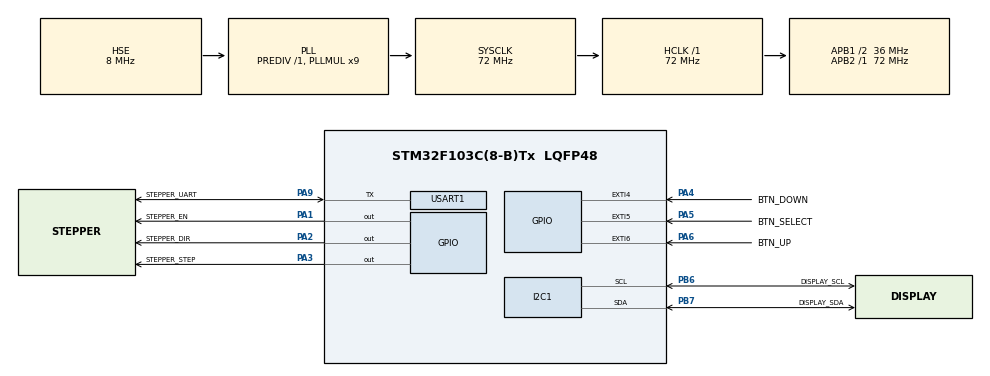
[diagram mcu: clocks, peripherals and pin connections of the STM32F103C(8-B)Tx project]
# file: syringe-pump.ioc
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Mcu.Family=STM32F1
Mcu.Name=STM32F103C(8-B)Tx
Mcu.Package=LQFP48
NVIC.EXTI4_IRQn=true\:0\:0\:false\:false\:true\:true\:true\:true
NVIC.EXTI9_5_IRQn=true\:0\:0\:false\:false\:true\:true\:true\:true
NVIC.PriorityGroup=NVIC_PRIORITYGROUP_4
NVIC.TIM3_IRQn=true\:0\:0\:true\:false\:true\:true\:true\:true
NVIC.USART1_IRQn=true\:0\:0\:false\:false\:true\:true\:true\:true
PA1.GPIO_Label=STEPPER_EN
PA1.Signal=GPIO_Output
PA13.Mode=Serial_Wire
PA13.Signal=SYS_JTMS-SWDIO
PA14.Mode=Serial_Wire
PA14.Signal=SYS_JTCK-SWCLK
PA2.GPIO_Label=STEPPER_DIR
PA2.Signal=GPIO_Output
PA3.GPIO_Label=STEPPER_STEP
PA3.Signal=GPIO_Output
PA4.GPIO_Label=BTN_DOWN
PA4.Signal=GPXTI4
PA5.GPIO_Label=BTN_SELECT
PA5.Signal=GPXTI5
PA6.GPIO_Label=BTN_UP
PA6.Signal=GPXTI6
PA9.GPIO_Label=STEPPER_UART
PA9.Mode=Half_duplex(single_wire_mode)
PA9.Signal=USART1_TX
PB6.GPIO_Label=DISPLAY_SCL
PB6.Mode=I2C
PB6.Signal=I2C1_SCL
PB7.GPIO_Label=DISPLAY_SDA
PB7.Mode=I2C
PB7.Signal=I2C1_SDA
PD0-OSC_IN.Mode=HSE-External-Oscillator
PD0-OSC_IN.Signal=RCC_OSC_IN
PD1-OSC_OUT.Mode=HSE-External-Oscillator
PD1-OSC_OUT.Signal=RCC_OSC_OUT
ProjectManager.HeapSize=0x200
ProjectManager.StackSize=0x400
ProjectManager.TargetToolchain=STM32CubeIDE
RCC.AHBFreq_Value=72000000
RCC.APB1CLKDivider=RCC_HCLK_DIV2
RCC.APB1Freq_Value=36000000
RCC.APB1TimFreq_Value=72000000
RCC.APB2Freq_Value=72000000
RCC.APB2TimFreq_Value=72000000
RCC.HCLKFreq_Value=72000000
RCC.PLLMUL=RCC_PLL_MUL9
RCC.PLLSourceVirtual=RCC_PLLSOURCE_HSE
RCC.SYSCLKFreq_VALUE=72000000
RCC.SYSCLKSource=RCC_SYSCLKSOURCE_PLLCLK
RCC.USBFreq_Value=72000000
TIM3.AutoReloadPreload=TIM_AUTORELOAD_PRELOAD_ENABLE
TIM3.Prescaler=7200-1
USART1.BaudRate=115200
USART1.VirtualMode=VM_ASYNC
VP_TIM3_VS_ClockSourceINT.Mode=Internal
board=custom

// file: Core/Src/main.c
/* USER CODE BEGIN Header */
/**
 ******************************************************************************
 * @file           : main.c
 * @brief          : Main program body
 ******************************************************************************
 * @attention
 *
 * Copyright (c) 2025 STMicroelectronics.
 * All rights reserved.
 *
 * This software is licensed under terms that can be found in the LICENSE file
 * in the root directory of this software component.
 * If no LICENSE file comes with this software, it is provided AS-IS.
 *
 ******************************************************************************
 */
/* USER CODE END Header */
#include "main.h"

/* USER CODE BEGIN Includes */
#include <TMC2208.h>
#include <stdbool.h>
#include <Util.h>
#include <I2C_LCD_cfg.h>
#include <I2C_LCD.h>

#include <stdio.h>
#include <string.h>
#include <stdint.h>
#include <math.h>

/* USER CODE END Includes */

/* USER CODE BEGIN PD */

// Physical characteristics of the motor and the screw
#define PASOS_POR_VUELTA      200
#define AVANCE_TORNILLO_MM    8.0f

#define MyI2C_LCD I2C_LCD_1

#define NUM_PANTALLAS 		4
#define NUM_OPCIONES_MAX 	4
#define DEBOUNCE_DELAY 		150 // Milisegundos
#define MAX_LINEAS 3 // Número máximo de líneas de opciones visibles

#define COL cursor_pos[0]
#define FIL cursor_pos[1]

/* USER CODE END PD */

I2C_HandleTypeDef hi2c1;

TIM_HandleTypeDef htim3;

UART_HandleTypeDef huart1;

/* USER CODE BEGIN PV */

// Physical characteristics of the syringe
float volumen_jeringa = 5.0f;       // ml
float caudal = 1.5f;        // ml/min
float diametro = 10.0f;     // mm
float largo = 0.0f;         // mm (se ignora si hay diámetro)

uint32_t f_clk = 72000000;  // TIM2 clock (ejemplo: 72 MHz)

// Stepper Configuration
int motor_current = 600;	// Corriente del motor paso a paso (mA)
float Rsense = 0.11;	// Resistencia de sensado del TMC2208 (omhs)

// Stepper control
volatile uint32_t steps_remaining = 0;
volatile bool motor_running = false;
uint32_t steps;

// User variables
float vol_to_dispense = 0;	// Volumen de liquido que se quiere dispensar (mL)
float flow_to_dispense = 0;	// Flujo al que se quiere dispensar el liquido (mL/h)

// Variables display
int col = 0;
int fil = 0;
int cursor_pos[2];

// Estados de la máquina de estados
typedef enum {
	MENU_PRINCIPAL,
	AJUSTANDO_VALOR
} EstadoMenu_t;

typedef enum {
	DISPENSADO,
	CONF_JERINGA,
	CONF_STEPPER,
	INICIAR
} Pantalla_t;

typedef enum {
	VOLUMEN_DISP,
	CAUDAL,
	VOLVER_DISP
} OpcDispensado_t;

typedef enum {
	VOLUMEN_TOTAL,
	LARGO,
	DIAM_INTERNO,
	VOLVER_JER
} OpcConfJeringa_t;

typedef enum {
	MICROPASOS,
	CORRIENTE,
	RSENSE,
	VOLVER_STEP
} OpcConfStepper_t;

// Estructura para cada opción del menú
typedef struct {
	char nombre[16];
	int valor;
} OpcionMenu_t;

// Estructura para cada pantalla
typedef struct {
	char titulo[20];
	OpcionMenu_t opciones[NUM_OPCIONES_MAX];
	int num_opciones;
} PantallaMenu_t;

// Variables globales
EstadoMenu_t estado_actual = MENU_PRINCIPAL;
PantallaMenu_t menu[NUM_PANTALLAS] = {
		{"Dispensado", 			{ {"Vol=", 			0},	{"Caudal=", 		0},							{"Volver",  -1} }, 3 },
		{"Conf Jeringa", 		{ {"Vol total=", 	0}, {"Largo=", 			0}, {"Diametro int=", 	0}, {"Volver",  -1} }, 4 },
		{"Conf stepepr", 		{ {"Micropasos=", 	0}, {"Corriente max=", 	0}, {"Rsense=0.", 		0}, {"Volver",  -1} }, 4 },
		{"Bomba de jeringa", 	{ {"Dispensado",   -1}, {"Conf jeringa",   -1}, {"Conf stepper",   -1}, {"Iniciar", -1} }, 4 },
};

int pantalla_actual = PRINCIPAL;
int opcion_actual = 0;
int desplazamiento = 0;
volatile uint32_t last_interrupt_time = 0;

/* USER CODE END PV */

void SystemClock_Config(void);
static void MX_GPIO_Init(void);
static void MX_USART1_UART_Init(void);
static void MX_TIM3_Init(void);
static void MX_I2C1_Init(void);
/* USER CODE BEGIN PFP */
float calcularLongitudCarrera(float volumen_ml, float diametro_mm, float largo_mm);
uint16_t calcularMicropasosOptimos(float volumen_total_ml, float caudal_ml_min, float diametro_mm, float largo_mm, uint32_t f_clk_timer);
uint32_t calcularCantidadPasos(float volumen_total_ml, float diametro_mm, float largo_mm, uint16_t microstepping);
uint32_t calcularARR(float pasosPorSegundo, uint32_t f_clk_timer);

void TMC2208_Move(void);
void TMC2208_Stop(void);

void actualizarLCD();
void manejarBotonArriba();
void manejarBotonAbajo();
void manejarBotonSeleccionar();
void configurarInterrupciones();

/* USER CODE END PFP */

int main(void)
{

	/* MCU Configuration--------------------------------------------------------*/

	/* Reset of all peripherals, Initializes the Flash interface and the Systick. */
	HAL_Init();

	/* Configure the system clock */
	SystemClock_Config();

	/* Initialize all configured peripherals */
	MX_GPIO_Init();
	/// MX_USART1_UART_Init();
	MX_TIM3_Init();
	MX_I2C1_Init();
	/* USER CODE BEGIN 2 */

	// LCD I2C configuration
	I2C_LCD_Init(MyI2C_LCD);
	I2C_LCD_SetCursor(MyI2C_LCD, 2, 0);
	I2C_LCD_WriteString(MyI2C_LCD, "Syringe Pump V1.1");
	I2C_LCD_SetCursor(MyI2C_LCD, 6, 1);
	I2C_LCD_WriteString(MyI2C_LCD, "INQUIMAE");

	HAL_Delay(2000);

	actualizarLCD();

	HAL_GPIO_WritePin(STEPPER_UART_GPIO_Port, STEPPER_UART_Pin, GPIO_PIN_RESET);
	HAL_delay(10);
	MX_USART1_UART_Init();
	// TMC2208 configuration
	TMC2208_Init(&huart1, Rsense);
	TMC2208_SetMotorCurrent(motor_current);
	//TMC2208_SetMicrostepping(microsteps);
	TMC2208_SetOperationMode(false); 	// Desactivar stealthChop

	menu[CONF_STEPPER].opciones[0].valor = microsteps;
	menu[CONF_STEPPER].opciones[1].valor = motor_current;
	menu[CONF_STEPPER].opciones[2].valor = Rsense * 100;
	/* USER CODE END 2 */

	/* Infinite loop */
	while (1)
	{

	}
}

void SystemClock_Config(void)
{
	RCC_OscInitTypeDef RCC_OscInitStruct = {0};
	RCC_ClkInitTypeDef RCC_ClkInitStruct = {0};

	/** Initializes the RCC Oscillators according to the specified parameters
	 * in the RCC_OscInitTypeDef structure.
	 */
	RCC_OscInitStruct.OscillatorType = RCC_OSCILLATORTYPE_HSE;
	RCC_OscInitStruct.HSEState = RCC_HSE_ON;
	RCC_OscInitStruct.HSEPredivValue = RCC_HSE_PREDIV_DIV1;
	RCC_OscInitStruct.HSIState = RCC_HSI_ON;
	RCC_OscInitStruct.PLL.PLLState = RCC_PLL_ON;
	RCC_OscInitStruct.PLL.PLLSource = RCC_PLLSOURCE_HSE;
	RCC_OscInitStruct.PLL.PLLMUL = RCC_PLL_MUL9;
	if (HAL_RCC_OscConfig(&RCC_OscInitStruct) != HAL_OK)
	{
		Error_Handler();
	}

	/** Initializes the CPU, AHB and APB buses clocks
	 */
	RCC_ClkInitStruct.ClockType = RCC_CLOCKTYPE_HCLK|RCC_CLOCKTYPE_SYSCLK
			|RCC_CLOCKTYPE_PCLK1|RCC_CLOCKTYPE_PCLK2;
	RCC_ClkInitStruct.SYSCLKSource = RCC_SYSCLKSOURCE_PLLCLK;
	RCC_ClkInitStruct.AHBCLKDivider = RCC_SYSCLK_DIV1;
	RCC_ClkInitStruct.APB1CLKDivider = RCC_HCLK_DIV2;
	RCC_ClkInitStruct.APB2CLKDivider = RCC_HCLK_DIV1;

	if (HAL_RCC_ClockConfig(&RCC_ClkInitStruct, FLASH_LATENCY_2) != HAL_OK)
	{
		Error_Handler();
	}
}

static void MX_I2C1_Init(void)
{

	hi2c1.Instance = I2C1;
	hi2c1.Init.ClockSpeed = 100000;
	hi2c1.Init.DutyCycle = I2C_DUTYCYCLE_2;
	hi2c1.Init.OwnAddress1 = 0;
	hi2c1.Init.AddressingMode = I2C_ADDRESSINGMODE_7BIT;
	hi2c1.Init.DualAddressMode = I2C_DUALADDRESS_DISABLE;
	hi2c1.Init.OwnAddress2 = 0;
	hi2c1.Init.GeneralCallMode = I2C_GENERALCALL_DISABLE;
	hi2c1.Init.NoStretchMode = I2C_NOSTRETCH_DISABLE;
	if (HAL_I2C_Init(&hi2c1) != HAL_OK)
	{
		Error_Handler();
	}

}

static void MX_TIM3_Init(void)
{

	TIM_ClockConfigTypeDef sClockSourceConfig = {0};
	TIM_MasterConfigTypeDef sMasterConfig = {0};

	htim3.Instance = TIM3;
	htim3.Init.Prescaler = 7200-1;
	htim3.Init.CounterMode = TIM_COUNTERMODE_UP;
	htim3.Init.Period = 65535;
	htim3.Init.ClockDivision = TIM_CLOCKDIVISION_DIV1;
	htim3.Init.AutoReloadPreload = TIM_AUTORELOAD_PRELOAD_ENABLE;
	if (HAL_TIM_Base_Init(&htim3) != HAL_OK)
	{
		Error_Handler();
	}
	sClockSourceConfig.ClockSource = TIM_CLOCKSOURCE_INTERNAL;
	if (HAL_TIM_ConfigClockSource(&htim3, &sClockSourceConfig) != HAL_OK)
	{
		Error_Handler();
	}
	sMasterConfig.MasterOutputTrigger = TIM_TRGO_RESET;
	sMasterConfig.MasterSlaveMode = TIM_MASTERSLAVEMODE_DISABLE;
	if (HAL_TIMEx_MasterConfigSynchronization(&htim3, &sMasterConfig) != HAL_OK)
	{
		Error_Handler();
	}

}

static void MX_USART1_UART_Init(void)
{

	huart1.Instance = USART1;
	huart1.Init.BaudRate = 115200;
	huart1.Init.WordLength = UART_WORDLENGTH_8B;
	huart1.Init.StopBits = UART_STOPBITS_1;
	huart1.Init.Parity = UART_PARITY_NONE;
	huart1.Init.Mode = UART_MODE_TX_RX;
	huart1.Init.HwFlowCtl = UART_HWCONTROL_NONE;
	huart1.Init.OverSampling = UART_OVERSAMPLING_16;
	if (HAL_HalfDuplex_Init(&huart1) != HAL_OK)
	{
		Error_Handler();
	}

}

static void MX_GPIO_Init(void)
{
	GPIO_InitTypeDef GPIO_InitStruct = {0};

	/* GPIO Ports Clock Enable */
	__HAL_RCC_GPIOD_CLK_ENABLE();
	__HAL_RCC_GPIOA_CLK_ENABLE();
	__HAL_RCC_GPIOB_CLK_ENABLE();

	/*Configure GPIO pin Output Level */
	HAL_GPIO_WritePin(GPIOA, STEPPER_EN_Pin|STEPPER_DIR_Pin|STEPPER_STEP_Pin, GPIO_PIN_RESET);

	/*Configure GPIO pins : STEPPER_EN_Pin STEPPER_DIR_Pin STEPPER_STEP_Pin */
	GPIO_InitStruct.Pin = STEPPER_EN_Pin|STEPPER_DIR_Pin|STEPPER_STEP_Pin;
	GPIO_InitStruct.Mode = GPIO_MODE_OUTPUT_PP;
	GPIO_InitStruct.Pull = GPIO_NOPULL;
	GPIO_InitStruct.Speed = GPIO_SPEED_FREQ_LOW;
	HAL_GPIO_Init(GPIOA, &GPIO_InitStruct);

	/*Configure GPIO pins : BTN_DOWN_Pin BTN_SELECT_Pin BTN_UP_Pin */
	GPIO_InitStruct.Pin = BTN_DOWN_Pin|BTN_SELECT_Pin|BTN_UP_Pin;
	GPIO_InitStruct.Mode = GPIO_MODE_IT_RISING;
	GPIO_InitStruct.Pull = GPIO_NOPULL;
	HAL_GPIO_Init(GPIOA, &GPIO_InitStruct);

	/* EXTI interrupt init*/
	HAL_NVIC_SetPriority(EXTI4_IRQn, 0, 0);
	HAL_NVIC_EnableIRQ(EXTI4_IRQn);

	HAL_NVIC_SetPriority(EXTI9_5_IRQn, 0, 0);
	HAL_NVIC_EnableIRQ(EXTI9_5_IRQn);

}

/* USER CODE BEGIN 4 */

// Función para actualizar el LCD
void actualizarLCD() {
	char buffer[20];
	I2C_LCD_Clear(MyI2C_LCD);
	I2C_LCD_SetCursor(MyI2C_LCD, 2, 0);
	I2C_LCD_WriteString(MyI2C_LCD, menu[pantalla_actual].titulo);

	int inicio = desplazamiento;
	int fin = inicio + MAX_LINEAS;
	if(fin > menu[pantalla_actual].num_opciones) {
		fin = menu[pantalla_actual].num_opciones;
	}

	for(int i = inicio; i < fin; i++)
	{
		if(estado_actual == MENU_PRINCIPAL)
		{
			if(menu[pantalla_actual].opciones[i].valor == -1)
			{
				if(i == opcion_actual)
				{
					sprintf(buffer, ">%s", menu[pantalla_actual].opciones[i].nombre);
				} else
				{
					sprintf(buffer, " %s", menu[pantalla_actual].opciones[i].nombre);
				}
			} else
			{
				if(i == opcion_actual) {
					sprintf(buffer, ">%s %d", menu[pantalla_actual].opciones[i].nombre, menu[pantalla_actual].opciones[i].valor);
				} else
				{
					sprintf(buffer, " %s %d", menu[pantalla_actual].opciones[i].nombre, menu[pantalla_actual].opciones[i].valor);
				}
			}
		} else if(estado_actual == AJUSTANDO_VALOR)
		{
			if(menu[pantalla_actual].opciones[i].valor == -1)
			{
				if(i == opcion_actual)
				{
					sprintf(buffer, " %s>", menu[pantalla_actual].opciones[i].nombre);
				} else
				{
					sprintf(buffer, " %s", menu[pantalla_actual].opciones[i].nombre);
				}
			} else
			{
				if(i == opcion_actual)
				{
					sprintf(buffer, " %s>%d", menu[pantalla_actual].opciones[i].nombre, menu[pantalla_actual].opciones[i].valor);
				} else
				{
					sprintf(buffer, " %s %d", menu[pantalla_actual].opciones[i].nombre, menu[pantalla_actual].opciones[i].valor);
				}
			}
		}
		I2C_LCD_SetCursor(MyI2C_LCD, 0, i + 1 - desplazamiento);
		I2C_LCD_WriteString(MyI2C_LCD, buffer);

	}
}

void manejarBotonArriba()
{
	if (estado_actual == MENU_PRINCIPAL)
	{
		if (opcion_actual > 0)
		{
			opcion_actual--;
			if (opcion_actual < desplazamiento)
			{
				desplazamiento--;
			}
		}
	} else if (estado_actual == AJUSTANDO_VALOR)
	{

		if(pantalla_actual == CONF_STEPPER)
		{	// Cambiar micropasos
			if(opcion_actual == MICROPASOS)
			{
				microsteps = microsteps * 2;
				if(microsteps > 256)
					microsteps = 256;
				menu[pantalla_actual].opciones[opcion_actual].valor = microsteps;
			}
		}
		else
			menu[pantalla_actual].opciones[opcion_actual].valor++;
	}
	actualizarLCD();
}

void manejarBotonAbajo()
{
	if (estado_actual == MENU_PRINCIPAL)
	{
		if (opcion_actual < menu[pantalla_actual].num_opciones - 1)
		{
			opcion_actual++;
			if (opcion_actual >= desplazamiento + MAX_LINEAS)
			{
				desplazamiento++;
			}
		}
	} else if (estado_actual == AJUSTANDO_VALOR)
	{

		if(pantalla_actual == CONF_STEPPER && opcion_actual == MICROPASOS)
		{	// Cambiar micropasos
			microsteps = microsteps / 2;
			if(microsteps < 1)
				microsteps = 1;
			menu[pantalla_actual].opciones[opcion_actual].valor = microsteps;
		}
		else
			menu[pantalla_actual].opciones[opcion_actual].valor--;

	}
	actualizarLCD();
}

void manejarBotonSeleccionar()
{
	if (estado_actual == MENU_PRINCIPAL)
	{
		if(pantalla_actual == PRINCIPAL && opcion_actual == DISPENSADO)
		{
			pantalla_actual = DISPENSADO; // Ir a "Dispensado"
			opcion_actual = 0;
			desplazamiento = 0;
		}
		else if(pantalla_actual == PRINCIPAL && opcion_actual == CONF_JERINGA)
		{
			pantalla_actual = CONF_JERINGA; // Ir a "conf jeringa"
			opcion_actual = 0;
			desplazamiento = 0;
		}
		else if(pantalla_actual == PRINCIPAL && opcion_actual == CONF_STEPPER)
		{
			pantalla_actual = CONF_STEPPER; // Ir a "Conf Stepper."
			opcion_actual = 0;
			desplazamiento = 0;
		}
		else if(pantalla_actual == PRINCIPAL  && opcion_actual == INICIAR)
		{
			if(!motor_running)
			{
				uint16_t microsteps = calcularMicropasosOptimos(vol_to_dispense, caudal, diametro, largo, f_clk);
				uint32_t pasosTotales = calcularCantidadPasos(volumen_jeringa, diametro, largo, microsteps);

				steps_remaining = pasosTotales;

				// Calcular pasos por segundo para este caso:
				float tiempo_total_s = (vol_to_dispense / caudal) * 60.0f;
				float pasosPorSegundo = pasosTotales / tiempo_total_s;

				// Calcular y modificar el ARR
				uint32_t arr = calcularARR(pasosPorSegundo, f_clk);
				configurarTimerConARR(&htim3, arr);

				TMC2208_Move();
			}
			else
			{
				TMC2208_Stop();
			}
		}
		else if( (pantalla_actual == CONF_JERINGA && opcion_actual == VOLVER_JER) || (pantalla_actual == CONF_STEPPER && opcion_actual == VOLVER_STEP) || (pantalla_actual == DISPENSADO && opcion_actual == VOLVER_DISP))
		{
			pantalla_actual = PRINCIPAL; // Volver al menú principal
			opcion_actual = 0;
			desplazamiento = 0;
		}
		else
		{
			estado_actual = AJUSTANDO_VALOR;
		}
	}
	else if (estado_actual == AJUSTANDO_VALOR)
	{
		estado_actual = MENU_PRINCIPAL;
	}
	actualizarLCD();
}

void HAL_GPIO_EXTI_Callback(uint16_t GPIO_Pin)
{
	if (HAL_GetTick() - last_interrupt_time > DEBOUNCE_DELAY)
	{
		switch(GPIO_Pin)
		{
			case BTN_DOWN_Pin:
				manejarBotonAbajo();
				break;
			case BTN_SELECT_Pin:
				manejarBotonSeleccionar();
				break;
			case BTN_UP_Pin:
				manejarBotonArriba();
				break;
		}
		last_interrupt_time = HAL_GetTick();
	}
}

void HAL_TIM_PeriodElapsedCallback(TIM_HandleTypeDef *htim)
{
	if(htim == &htim3 && motor_running)
	{
		HAL_GPIO_WritePin(STEPPER_STEP_GPIO_Port, STEPPER_STEP_Pin, GPIO_PIN_SET);
		steps_remaining--;

		if(steps_remaining == 0)
		{
			TMC2208_Stop();
		}
		HAL_GPIO_WritePin(STEPPER_STEP_GPIO_Port, STEPPER_STEP_Pin, GPIO_PIN_RESET);
	}
}

float calcularLongitudCarrera(float volumen_ml, float diametro_mm, float largo_mm) {
    if(diametro_mm > 0.0f)
    {
        float radio = diametro_mm / 2.0f;
        float area = M_PI * radio * radio; // mm²
        return (volumen_ml * 1000.0f) / area; // mm
    } else
    {
        return largo_mm; // el usuario dio largo directamente
    }
}

uint16_t calcularMicropasosOptimos(float volumen_total_ml, float caudal_ml_min, float diametro_mm, float largo_mm, uint32_t f_clk_timer)
{
    const uint16_t opciones[] = {256, 128, 64, 32, 16, 8, 4, 2, 1};
    float longitud_mm = calcularLongitudCarrera(volumen_total_ml, diametro_mm, largo_mm);
    float vueltas = longitud_mm / AVANCE_TORNILLO_MM;
    float pasos_basicos = vueltas * PASOS_POR_VUELTA;
    float tiempo_s = (volumen_total_ml / caudal_ml_min) * 60.0f;
    float frecuencia_base = pasos_basicos / tiempo_s;

    for(int i = 0; i < sizeof(opciones)/sizeof(opciones[0]); i++)
    {
        float frecuencia_micro = frecuencia_base * opciones[i];
        float arr = f_clk_timer / frecuencia_micro;
        if(arr <= 65535.0f)
        {
            return opciones[i];
        }
    }
    return 1; // mínimo posible
}

uint32_t calcularCantidadPasos(float volumen_total_ml, float diametro_mm, float largo_mm, uint16_t microstepping)
{
    float longitud_mm = calcularLongitudCarrera(volumen_total_ml, diametro_mm, largo_mm);
    float vueltas = longitud_mm / AVANCE_TORNILLO_MM;
    float pasos_totales = vueltas * PASOS_POR_VUELTA * microstepping;
    return (uint32_t)(pasos_totales + 0.5f); // redondeo al entero más cercano
}

uint32_t calcularARR(float pasosPorSegundo, uint32_t f_clk_timer)
{
    if(pasosPorSegundo <= 0.0f)
    	return 65535;
    float arr = f_clk_timer / pasosPorSegundo;
    if(arr > 65535.0f)
    	return 65535;

    return (uint32_t)(arr + 0.5f); // redondeo al entero más cercano
}

void configurarTimerConARR(TIM_HandleTypeDef *htim, uint32_t arr)
{
    __HAL_TIM_DISABLE(htim);
    __HAL_TIM_SET_AUTORELOAD(htim, arr);
    __HAL_TIM_SET_COUNTER(htim, 0);
}

/*
 * TMC2208_Move()
 *
 * Descripcion:configura el registro ARR y activa la interrupcion por desbordamiento del timer.
 * Parametros: 	steps -> Pasos de motor calculador
 * 				time -> tiempo hasta completar el dispensado
 *
 * return: void
 */
void TMC2208_Move()
{
	motor_running = true;
	HAL_TIM_Base_Start_IT(&htim3);

}

void TMC2208_Stop()
{
	motor_running = false;
	HAL_TIM_Base_Stop_IT(&htim3);
}

/* USER CODE END 4 */

void Error_Handler(void)
{
	__disable_irq();
	while (1)
	{
	}
}
